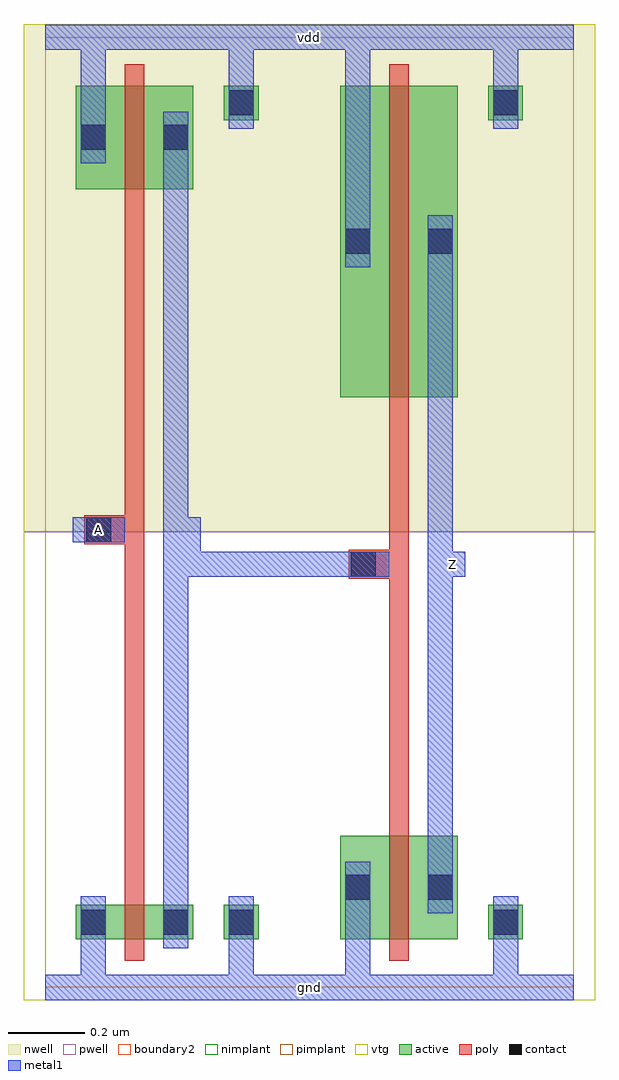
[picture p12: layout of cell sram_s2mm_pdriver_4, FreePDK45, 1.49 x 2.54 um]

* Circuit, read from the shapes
.subckt sram_s2mm_pdriver_4 A Z gnd vdd
M1 sram_s2mm_pinv_6_1/A A gnd gnd nfet w=0.09u l=0.05u
M2 Z sram_s2mm_pinv_6_1/A gnd gnd nfet w=0.27u l=0.05u
M3 sram_s2mm_pinv_6_1/A A vdd vdd pfet w=0.27u l=0.05u
M4 Z sram_s2mm_pinv_6_1/A vdd vdd pfet w=0.81u l=0.05u
.ends

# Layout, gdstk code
import gdstk
lib = gdstk.Library(unit=1e-6, precision=5e-10)
def R(c, l, rs):  # rectangles x0, y0, x1, y1
    for r in rs: c.add(gdstk.rectangle(r[:2], r[2:], *l))
active = (1, 0)
pwell = (2, 0)
nwell = (3, 0)
nimplant = (4, 0)
pimplant = (5, 0)
vtg = (6, 0)
poly = (9, 0)
contact = (10, 0)
metal1 = (11, 0)
boundary2 = (239, 0)

sram_s2mm_contact_11 = lib.new_cell('sram_s2mm_contact_11')
R(sram_s2mm_contact_11, active, [(0,0.0225,0.09,0.1125)])
R(sram_s2mm_contact_11, nwell, [(-0.055,-0.0325,0.145,0.1675)])
R(sram_s2mm_contact_11, pimplant, [(0,0.0225,0.09,0.1125)])
R(sram_s2mm_contact_11, contact, [(0.0125,0.035,0.0775,0.1)])
R(sram_s2mm_contact_11, metal1, [(0.0125,0,0.0775,0.135)])
R(sram_s2mm_contact_11, boundary2, [(-0.055,-0.0325,0.145,0.1675)])

sram_s2mm_pmos_m1_w0_270 = lib.new_cell('sram_s2mm_pmos_m1_w0_270_sm1_dm1_da_p')
R(sram_s2mm_pmos_m1_w0_270, active, [(0,0,0.305,0.27)])
R(sram_s2mm_pmos_m1_w0_270, nwell, [(-0.08,-0.08,0.385,0.35)])
R(sram_s2mm_pmos_m1_w0_270, pimplant, [(0,0,0.305,0.27)])
R(sram_s2mm_pmos_m1_w0_270, vtg, [(-0.08,-0.08,0.385,0.35)])
R(sram_s2mm_pmos_m1_w0_270, poly, [(0.1275,-0.055,0.1775,0.325), (0.1275,-0.055,0.1775,0.325)])
R(sram_s2mm_pmos_m1_w0_270, metal1, [(0.0125,0.0675,0.0775,0.2025), (0.2275,0.0675,0.2925,0.2025)])
R(sram_s2mm_pmos_m1_w0_270, boundary2, [(-0.08,-0.08,0.385,0.35)])
sram_s2mm_pmos_m1_w0_270.add(gdstk.Reference(sram_s2mm_contact_11, (0,0.0675)))
sram_s2mm_pmos_m1_w0_270.add(gdstk.Reference(sram_s2mm_contact_11, (0.215,0.0675)))
sram_s2mm_pmos_m1_w0_270.add(gdstk.Label('G', (0.1525,0.135), layer=9, texttype=0))
sram_s2mm_pmos_m1_w0_270.add(gdstk.Label('S', (0.045,0.135), layer=11, texttype=0))
sram_s2mm_pmos_m1_w0_270.add(gdstk.Label('D', (0.26,0.135), layer=11, texttype=0))

sram_s2mm_contact_10 = lib.new_cell('sram_s2mm_contact_10')
R(sram_s2mm_contact_10, active, [(0,0.0225,0.09,0.1125)])
R(sram_s2mm_contact_10, pwell, [(-0.055,-0.0325,0.145,0.1675)])
R(sram_s2mm_contact_10, nimplant, [(0,0.0225,0.09,0.1125)])
R(sram_s2mm_contact_10, contact, [(0.0125,0.035,0.0775,0.1)])
R(sram_s2mm_contact_10, metal1, [(0.0125,0,0.0775,0.135)])
R(sram_s2mm_contact_10, boundary2, [(-0.055,-0.0325,0.145,0.1675)])

sram_s2mm_nmos_m1_w0_090 = lib.new_cell('sram_s2mm_nmos_m1_w0_090_sm1_dm1_da_p')
R(sram_s2mm_nmos_m1_w0_090, active, [(0,0,0.305,0.09)])
R(sram_s2mm_nmos_m1_w0_090, pwell, [(-0.08,-0.08,0.385,0.17)])
R(sram_s2mm_nmos_m1_w0_090, nimplant, [(0,0,0.305,0.09)])
R(sram_s2mm_nmos_m1_w0_090, vtg, [(-0.08,-0.08,0.385,0.17)])
R(sram_s2mm_nmos_m1_w0_090, poly, [(0.1275,-0.055,0.1775,0.145), (0.1275,-0.055,0.1775,0.145)])
R(sram_s2mm_nmos_m1_w0_090, metal1, [(0.0125,-0.0225,0.0775,0.1125), (0.2275,-0.0225,0.2925,0.1125)])
R(sram_s2mm_nmos_m1_w0_090, boundary2, [(-0.08,-0.08,0.385,0.17)])
sram_s2mm_nmos_m1_w0_090.add(gdstk.Reference(sram_s2mm_contact_10, (0,-0.0225)))
sram_s2mm_nmos_m1_w0_090.add(gdstk.Reference(sram_s2mm_contact_10, (0.215,-0.0225)))
sram_s2mm_nmos_m1_w0_090.add(gdstk.Label('G', (0.1525,0.045), layer=9, texttype=0))
sram_s2mm_nmos_m1_w0_090.add(gdstk.Label('S', (0.045,0.045), layer=11, texttype=0))
sram_s2mm_nmos_m1_w0_090.add(gdstk.Label('D', (0.26,0.045), layer=11, texttype=0))

sram_s2mm_contact_12 = lib.new_cell('sram_s2mm_contact_12')
R(sram_s2mm_contact_12, active, [(0,0.0225,0.09,0.1125)])
R(sram_s2mm_contact_12, nwell, [(-0.055,-0.0325,0.145,0.1675)])
R(sram_s2mm_contact_12, nimplant, [(0,0.0225,0.09,0.1125)])
R(sram_s2mm_contact_12, contact, [(0.0125,0.035,0.0775,0.1)])
R(sram_s2mm_contact_12, metal1, [(0.0125,0,0.0775,0.135)])
R(sram_s2mm_contact_12, boundary2, [(-0.055,-0.0325,0.145,0.1675)])

sram_s2mm_contact_13 = lib.new_cell('sram_s2mm_contact_13')
R(sram_s2mm_contact_13, active, [(0,0.0225,0.09,0.1125)])
R(sram_s2mm_contact_13, pwell, [(-0.055,-0.0325,0.145,0.1675)])
R(sram_s2mm_contact_13, pimplant, [(0,0.0225,0.09,0.1125)])
R(sram_s2mm_contact_13, contact, [(0.0125,0.035,0.0775,0.1)])
R(sram_s2mm_contact_13, metal1, [(0.0125,0,0.0775,0.135)])
R(sram_s2mm_contact_13, boundary2, [(-0.055,-0.0325,0.145,0.1675)])

sram_s2mm_contact_14 = lib.new_cell('sram_s2mm_contact_14')
R(sram_s2mm_contact_14, poly, [(0.03,0,0.105,0.075)])
R(sram_s2mm_contact_14, contact, [(0.035,0.005,0.1,0.07)])
R(sram_s2mm_contact_14, metal1, [(0,0.005,0.135,0.07)])
R(sram_s2mm_contact_14, boundary2, [(0,0,0.135,0.075)])

sram_s2mm_pinv_5 = lib.new_cell('sram_s2mm_pinv_5')
R(sram_s2mm_pinv_5, pwell, [(-0.055,-0.0325,0.7425,1.185)])
R(sram_s2mm_pinv_5, nwell, [(-0.055,1.185,0.7425,2.505)])
R(sram_s2mm_pinv_5, vtg, [(-0.055,-0.0325,0.7425,1.185), (-0.055,1.185,0.7425,2.505)])
R(sram_s2mm_pinv_5, poly, [(0.2075,0.27,0.2575,2.02), (0.14,1.1525,0.2075,1.2275)])
R(sram_s2mm_pinv_5, metal1, [(0,-0.0325,0.6875,0.0325), (0.0925,-0.0325,0.1575,0.1025), (0.4775,0,0.5425,0.17), (0.3075,0.1025,0.3725,2.2775), (0.0725,1.1575,0.2075,1.2225), (0.34,1.1575,0.405,1.2225), (0.0925,2.1425,0.1575,2.5025), (0.4775,2.3,0.5425,2.47), (0,2.4375,0.6875,2.5025)])
R(sram_s2mm_pinv_5, boundary2, [(0,0,0.6875,2.47), (0,0,0.6875,2.47)])
sram_s2mm_pinv_5.add(gdstk.Reference(sram_s2mm_pmos_m1_w0_270, (0.08,2.075)))
sram_s2mm_pinv_5.add(gdstk.Reference(sram_s2mm_nmos_m1_w0_090, (0.08,0.125)))
sram_s2mm_pinv_5.add(gdstk.Reference(sram_s2mm_contact_12, (0.465,2.2325)))
sram_s2mm_pinv_5.add(gdstk.Reference(sram_s2mm_contact_13, (0.465,0.1025)))
sram_s2mm_pinv_5.add(gdstk.Reference(sram_s2mm_contact_14, (0.0725,1.1525)))
sram_s2mm_pinv_5.add(gdstk.Label('A', (0.14,1.19), layer=11, texttype=0))
sram_s2mm_pinv_5.add(gdstk.Label('Z', (0.3725,1.19), layer=11, texttype=0))
sram_s2mm_pinv_5.add(gdstk.Label('gnd', (0.344,0), layer=11, texttype=0))
sram_s2mm_pinv_5.add(gdstk.Label('vdd', (0.344,2.47), layer=11, texttype=0))

sram_s2mm_pmos_m1_w0_810 = lib.new_cell('sram_s2mm_pmos_m1_w0_810_sm1_dm1_da_p')
R(sram_s2mm_pmos_m1_w0_810, active, [(0,0,0.305,0.81)])
R(sram_s2mm_pmos_m1_w0_810, nwell, [(-0.08,-0.08,0.385,0.89)])
R(sram_s2mm_pmos_m1_w0_810, pimplant, [(0,0,0.305,0.81)])
R(sram_s2mm_pmos_m1_w0_810, vtg, [(-0.08,-0.08,0.385,0.89)])
R(sram_s2mm_pmos_m1_w0_810, poly, [(0.1275,-0.055,0.1775,0.865), (0.1275,-0.055,0.1775,0.865)])
R(sram_s2mm_pmos_m1_w0_810, metal1, [(0.0125,0.3375,0.0775,0.4725), (0.2275,0.3375,0.2925,0.4725)])
R(sram_s2mm_pmos_m1_w0_810, boundary2, [(-0.08,-0.08,0.385,0.89)])
sram_s2mm_pmos_m1_w0_810.add(gdstk.Reference(sram_s2mm_contact_11, (0,0.3375)))
sram_s2mm_pmos_m1_w0_810.add(gdstk.Reference(sram_s2mm_contact_11, (0.215,0.3375)))
sram_s2mm_pmos_m1_w0_810.add(gdstk.Label('G', (0.1525,0.405), layer=9, texttype=0))
sram_s2mm_pmos_m1_w0_810.add(gdstk.Label('S', (0.045,0.405), layer=11, texttype=0))
sram_s2mm_pmos_m1_w0_810.add(gdstk.Label('D', (0.26,0.405), layer=11, texttype=0))

sram_s2mm_nmos_m1_w0_270 = lib.new_cell('sram_s2mm_nmos_m1_w0_270_sm1_dm1_da_p')
R(sram_s2mm_nmos_m1_w0_270, active, [(0,0,0.305,0.27)])
R(sram_s2mm_nmos_m1_w0_270, pwell, [(-0.08,-0.08,0.385,0.35)])
R(sram_s2mm_nmos_m1_w0_270, nimplant, [(0,0,0.305,0.27)])
R(sram_s2mm_nmos_m1_w0_270, vtg, [(-0.08,-0.08,0.385,0.35)])
R(sram_s2mm_nmos_m1_w0_270, poly, [(0.1275,-0.055,0.1775,0.325), (0.1275,-0.055,0.1775,0.325)])
R(sram_s2mm_nmos_m1_w0_270, metal1, [(0.0125,0.0675,0.0775,0.2025), (0.2275,0.0675,0.2925,0.2025)])
R(sram_s2mm_nmos_m1_w0_270, boundary2, [(-0.08,-0.08,0.385,0.35)])
sram_s2mm_nmos_m1_w0_270.add(gdstk.Reference(sram_s2mm_contact_10, (0,0.0675)))
sram_s2mm_nmos_m1_w0_270.add(gdstk.Reference(sram_s2mm_contact_10, (0.215,0.0675)))
sram_s2mm_nmos_m1_w0_270.add(gdstk.Label('G', (0.1525,0.135), layer=9, texttype=0))
sram_s2mm_nmos_m1_w0_270.add(gdstk.Label('S', (0.045,0.135), layer=11, texttype=0))
sram_s2mm_nmos_m1_w0_270.add(gdstk.Label('D', (0.26,0.135), layer=11, texttype=0))

sram_s2mm_pinv_6 = lib.new_cell('sram_s2mm_pinv_6')
R(sram_s2mm_pinv_6, pwell, [(-0.055,-0.0325,0.7425,1.185)])
R(sram_s2mm_pinv_6, nwell, [(-0.055,1.185,0.7425,2.505)])
R(sram_s2mm_pinv_6, vtg, [(-0.055,-0.0325,0.7425,1.185), (-0.055,1.185,0.7425,2.505)])
R(sram_s2mm_pinv_6, poly, [(0.2075,0.45,0.2575,1.48), (0.14,1.0625,0.2075,1.1375)])
R(sram_s2mm_pinv_6, metal1, [(0,-0.0325,0.6875,0.0325), (0.0925,-0.0325,0.1575,0.1925), (0.4775,0,0.5425,0.17), (0.3075,0.1925,0.3725,2.0075), (0.0725,1.0675,0.2075,1.1325), (0.34,1.0675,0.405,1.1325), (0.0925,1.8725,0.1575,2.5025), (0.4775,2.3,0.5425,2.47), (0,2.4375,0.6875,2.5025)])
R(sram_s2mm_pinv_6, boundary2, [(0,0,0.6875,2.47), (0,0,0.6875,2.47)])
sram_s2mm_pinv_6.add(gdstk.Reference(sram_s2mm_pmos_m1_w0_810, (0.08,1.535)))
sram_s2mm_pinv_6.add(gdstk.Reference(sram_s2mm_nmos_m1_w0_270, (0.08,0.125)))
sram_s2mm_pinv_6.add(gdstk.Reference(sram_s2mm_contact_12, (0.465,2.2325)))
sram_s2mm_pinv_6.add(gdstk.Reference(sram_s2mm_contact_13, (0.465,0.1025)))
sram_s2mm_pinv_6.add(gdstk.Reference(sram_s2mm_contact_14, (0.0725,1.0625)))
sram_s2mm_pinv_6.add(gdstk.Label('A', (0.14,1.1), layer=11, texttype=0))
sram_s2mm_pinv_6.add(gdstk.Label('Z', (0.3725,1.1), layer=11, texttype=0))
sram_s2mm_pinv_6.add(gdstk.Label('gnd', (0.344,0), layer=11, texttype=0))
sram_s2mm_pinv_6.add(gdstk.Label('vdd', (0.344,2.47), layer=11, texttype=0))

sram_s2mm_pdriver_4 = lib.new_cell('sram_s2mm_pdriver_4')
R(sram_s2mm_pdriver_4, pwell, [(-0.055,-0.0325,1.43,1.185)])
R(sram_s2mm_pdriver_4, nwell, [(-0.055,1.185,1.43,2.505)])
R(sram_s2mm_pdriver_4, vtg, [(-0.055,-0.0325,1.43,1.185), (-0.055,1.185,1.43,2.505)])
R(sram_s2mm_pdriver_4, metal1, [(0,-0.0325,1.375,0.0325), (0.34,1.0675,0.405,1.1325), (0.3725,1.0675,0.8275,1.1325), (1.0275,1.0675,1.0925,1.1325), (0.34,1.1,0.405,1.19), (0.0725,1.1575,0.2075,1.2225), (0,2.4375,1.375,2.5025)])
R(sram_s2mm_pdriver_4, boundary2, [(0,0,1.375,2.47), (0,0,1.375,2.47)])
sram_s2mm_pdriver_4.add(gdstk.Reference(sram_s2mm_pinv_5, (0,0)))
sram_s2mm_pdriver_4.add(gdstk.Reference(sram_s2mm_pinv_6, (0.6875,0)))
sram_s2mm_pdriver_4.add(gdstk.Label('Z', (1.06,1.1), layer=11, texttype=0))
sram_s2mm_pdriver_4.add(gdstk.Label('A', (0.14,1.19), layer=11, texttype=0))
sram_s2mm_pdriver_4.add(gdstk.Label('gnd', (0.6875,0), layer=11, texttype=0))
sram_s2mm_pdriver_4.add(gdstk.Label('vdd', (0.6875,2.47), layer=11, texttype=0))

lib.write_gds('sram_s2mm_pdriver_4.gds')
